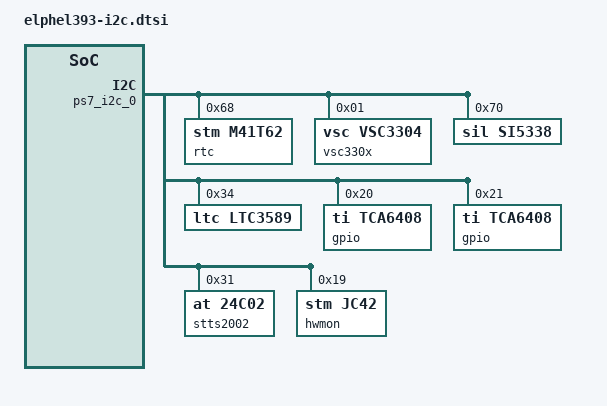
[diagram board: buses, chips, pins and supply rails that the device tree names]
/* i2c devices */
/ {
	ps7_axi_interconnect_0: amba@0 {
		ps7_i2c_0: ps7-i2c@e0004000 {
			bus-id = <0>;
			i2c-clk = <400000>;
			rtc@68 {
				compatible = "stm,m41t62";
				reg = <0x68>;
			};
			
			vsc330x@1 {
				compatible = "vsc,vsc3304";
				reg = <0x01>;
				vsc330x,configuration_name = "elphel393: from external";
				/* configuration below is for external eSATA host accessing SSD. Will chnage
					* when the SATA controller code will be operational
					* TODO: specify optimal drive strength, pre-emphasis, etc.
					* All parameters are exported to sysfs for run-time modification
					*/
				vsc330x,configuration_data=<
				0x11080101 /*page 0x11, register 0x08, data=0x1 (inverted input), write enabled mask=0x1 */
				0x11090001
				0x110a0101
				0x110b0101
				0x110e0001
				0x110f0101

				0x230a0b1f /* set output mode for port 10 as non-inverted, forwarding OOB enabled */
				0x230b151f /* set output mode for port 11 as     inverted, forwarding OOB enabled */
				0x230c151f
				0x230d0b1f
				0x230e151f
				0x230f151f

				0xff750101 /* freeze configuration to enable simultaneous modification */
				0x110e0002 /* enable channel 14 input */
				0x11090002 /* enable channel  9 input */

				0x000b091f /* connect port 11 output to input 9 */
				0x000c0e1f /* connect port 12 output to input 14 */
				0xff750001 /* un-freeze configuration to apply connection modifications */
				>;
			};

			si5338@70 {
				compatible = "sil,si5338";
				reg = <0x70>;
				si5338,init="always"; /* initialize PLL if chip was not programmed, wait for lock. Other option is 'if off' */
				/* low-level masked register writes, may be used to load frequency plan */
				/*si5338,configuration_data=< 0x1ffcf0 >;*/ /* just for testing: write data 0xfc with write enable mask 0xf0 to register 0x01f */
				si5338,in_frequency3= < 25000000>; /* 25MHz on input 3 (other inputs are '12",'4','56' and '12xo' */
				/* PLL may be set either directly (pll_freq_fract,pll_freq_int) or to match some output (pll_by_out_fract, pll_by_out_int)
					* _int suffix forces to find integer divisors, _fract - allows fractional ones */
				si5338,pll_by_out_int=<150000000>;  /* 150Mhz May have 3 values: integer, nominator and denominator */
				si5338,out3_freq_int= <150000000>;  /* 150Mhz. May have 3 values: integer, nominator and denominator */
				si5338,out2_select= "in3/2/32";  /* connect out2 to IN3, divided by 2 (input stage) and then by 32 (output stage)*/
				si5338,2V5_LVPECL=  <1 2>; /* set output standard for channels 1 and 2 */
				si5338,1V5_HSTL_A+= <0>;   /* set output standard for channel 0, only A output is used (noninverted) */
				si5338,1V8_LVDS=    <3>;
				/* Disabled state for outputs:  */
				si5338,dis_hi-z=    <0 1 2 3>; /* Disabled state for listed outputs, also possible: "dis_hi-z","dis_low","dis_high","dis_always_on" */
				si5338,output_en=   < 3>; /* Which outputs should be initially enabled */
				si5338,spread_spectrum_3= <1 50 31500>; /* Set spread spectrum for channel3 : enabled, 0.5%, 31.5KHz */
				si5338,out0_freq_int= <15000000>;  /* 15Mhz to output 0 */
				si5338,spread_spectrum_0= <1 500 31500>; /* Set spread spectrum for channel0 : enabled, 5%, 31.5KHz - high value, for testing */
			};
			
			ltc3589@34 {
				compatible = "ltc,ltc3589";
				reg = <0x34>;
			};

			gpio@20{
				compatible = "ti,tca6408";
				reg = <0x20>;
			};
			gpio@21{
				compatible = "ti,tca6408";
				reg = <0x21>;
			};
			/* Use 'spd' instead of '24c02' for read only access*/
			stts2002@31 {
				compatible = "at,24c02";
				reg = <0x31>;
			};
			hwmon@19 { /*hwmon@19*/
				compatible = "stm,jc42";
				reg = <0x19>;
			};
		};
	};
}; 
